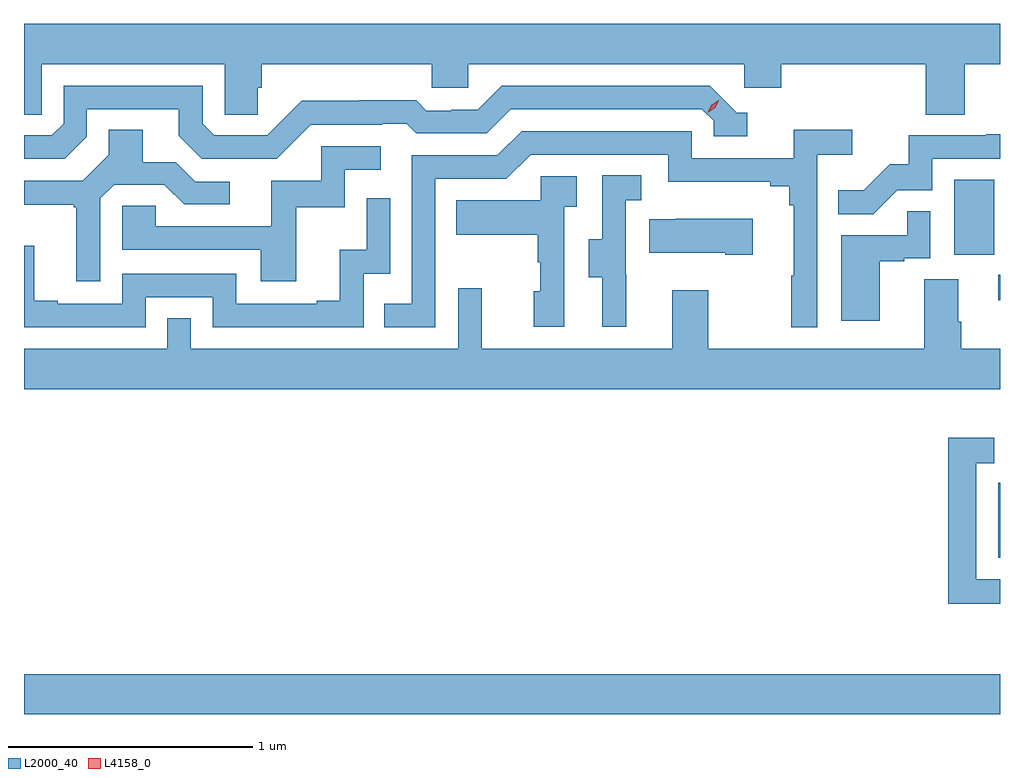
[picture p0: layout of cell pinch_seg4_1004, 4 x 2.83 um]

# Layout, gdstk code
import gdstk
lib = gdstk.Library(unit=1e-6, precision=1e-09)
def R(c, l, rs):  # rectangles x0, y0, x1, y1
    for r in rs: c.add(gdstk.rectangle(r[:2], r[2:], *l))
def P(c, l, *ps):  # polygons
    for p in ps: c.add(gdstk.Polygon(p, *l))
L2000_40 = (2000, 40)
L4158_0 = (4158, 0)

pinch_seg4_1004 = lib.new_cell('pinch_seg4_1004')
R(pinch_seg4_1004, L2000_40, [(820.002,772.844,824.002,773.008), (823.994,773.484,824.002,773.791), (823.995,774.54,824.002,774.645), (823.814,774.726,823.978,775.033)])
P(pinch_seg4_1004, L2000_40, [(820.074,775.508),(820.824,775.508),(820.824,775.3),(820.961,775.3),(820.961,775.41),(820.976,775.41),(820.976,775.508),(821.673,775.508),(821.673,775.41),(821.823,775.41),(821.823,775.508),(822.954,775.508),(822.954,775.41),(823.106,775.41),(823.106,775.508),(823.697,775.508),(823.697,775.3),(823.857,775.3),(823.857,775.508),(824.002,775.508),(824.002,775.672),(820.002,775.672),(820.002,775.3),(820.074,775.3)],
  [(820.26,775.209),(820.26,775.323),(820.637,775.323),(820.637,775.213),(820.731,775.119),(821.037,775.119),(821.178,775.26),(821.471,775.26),(821.471,775.263),(821.57,775.263),(821.609,775.224),(821.898,775.224),(821.997,775.323),(822.78,775.323),(822.828,775.275),(822.828,775.212),(822.967,775.212),(822.967,775.308),(822.924,775.308),(822.813,775.419),(821.96,775.419),(821.861,775.32),(821.754,775.32),(821.754,775.317),(821.651,775.317),(821.609,775.36),(821.376,775.36),(821.376,775.357),(821.14,775.357),(820.998,775.215),(820.782,775.215),(820.734,775.263),(820.734,775.419),(820.164,775.419),(820.164,775.263),(820.116,775.215),(820.002,775.215),(820.002,775.119),(820.17,775.119)],
  [(820.314,774.957),(820.371,775.014),(820.577,775.014),(820.658,774.933),(820.846,774.933),(820.846,775.026),(820.704,775.026),(820.624,775.106),(820.489,775.106),(820.489,775.238),(820.349,775.238),(820.349,775.136),(820.242,775.029),(820.002,775.029),(820.002,774.932),(820.206,774.932),(820.206,774.921),(820.217,774.921),(820.217,774.618),(820.314,774.618)],
  [(821.688,775.038),(821.979,775.038),(822.078,775.137),(822.642,775.137),(822.642,775.025),(823.061,775.025),(823.061,775.006),(823.138,775.006),(823.138,774.929),(823.157,774.929),(823.157,774.641),(823.146,774.641),(823.146,774.429),(823.254,774.429),(823.254,775.136),(823.396,775.136),(823.396,775.238),(823.157,775.238),(823.157,775.122),(822.738,775.122),(822.738,775.233),(822.041,775.233),(821.942,775.134),(821.592,775.134),(821.592,774.525),(821.479,774.525),(821.479,774.429),(821.688,774.429)],
  [(823.581,774.99),(823.725,774.99),(823.725,775.119),(824.002,775.119),(824.002,775.22),(823.945,775.22),(823.945,775.215),(823.627,775.215),(823.627,775.098),(823.55,775.098),(823.443,774.991),(823.339,774.991),(823.339,774.892),(823.483,774.892)],
  [(821.117,774.921),(821.316,774.921),(821.316,775.074),(821.464,775.074),(821.464,775.17),(821.22,775.17),(821.22,775.029),(821.015,775.029),(821.015,774.843),(820.541,774.843),(820.541,774.927),(820.404,774.927),(820.404,774.747),(820.973,774.747),(820.973,774.618),(821.117,774.618)],
  [(822.47,774.645),(822.468,774.645),(822.468,774.949),(822.532,774.949),(822.532,775.052),(822.372,775.052),(822.372,774.789),(822.317,774.789),(822.317,774.634),(822.371,774.634),(822.371,774.432),(822.47,774.432)],
  [(822.216,774.923),(822.268,774.923),(822.268,775.047),(822.12,775.047),(822.12,774.949),(821.773,774.949),(821.773,774.809),(822.108,774.809),(822.108,774.695),(822.118,774.695),(822.118,774.576),(822.092,774.576),(822.092,774.432),(822.216,774.432)],
  [(820.5,774.552),(820.776,774.552),(820.776,774.429),(821.394,774.429),(821.394,774.648),(821.502,774.648),(821.502,774.958),(821.406,774.958),(821.406,774.746),(821.297,774.746),(821.297,774.538),(821.201,774.538),(821.201,774.525),(820.872,774.525),(820.872,774.648),(820.404,774.648),(820.404,774.525),(820.141,774.525),(820.141,774.538),(820.045,774.538),(820.045,774.763),(820.002,774.763),(820.002,774.429),(820.5,774.429)],
  [(823.51,774.699),(823.61,774.699),(823.61,774.711),(823.716,774.711),(823.716,774.905),(823.621,774.905),(823.621,774.807),(823.352,774.807),(823.352,774.456),(823.51,774.456)],
  [(822.988,774.874),(822.673,774.874),(822.673,774.871),(822.565,774.871),(822.565,774.734),(822.875,774.734),(822.875,774.727),(822.988,774.727)],
  [(824.002,774.34),(823.844,774.34),(823.844,774.452),(823.831,774.452),(823.831,774.626),(823.691,774.626),(823.691,774.34),(822.807,774.34),(822.807,774.58),(822.659,774.58),(822.659,774.34),(821.879,774.34),(821.879,774.589),(821.781,774.589),(821.781,774.34),(820.686,774.34),(820.686,774.467),(820.59,774.467),(820.59,774.34),(820.002,774.34),(820.002,774.176),(824.002,774.176)],
  [(824.002,773.397),(823.905,773.397),(823.905,773.871),(823.978,773.871),(823.978,773.977),(823.789,773.977),(823.789,773.296),(824.002,773.296)])
P(pinch_seg4_1004, L4158_0, [(822.804,775.309),(822.804,775.31),(822.82,775.342),(822.851,775.362),(822.851,775.362),(822.851,775.361),(822.835,775.329),(822.804,775.309)])

lib.write_gds('pinch_seg4_1004.gds')
